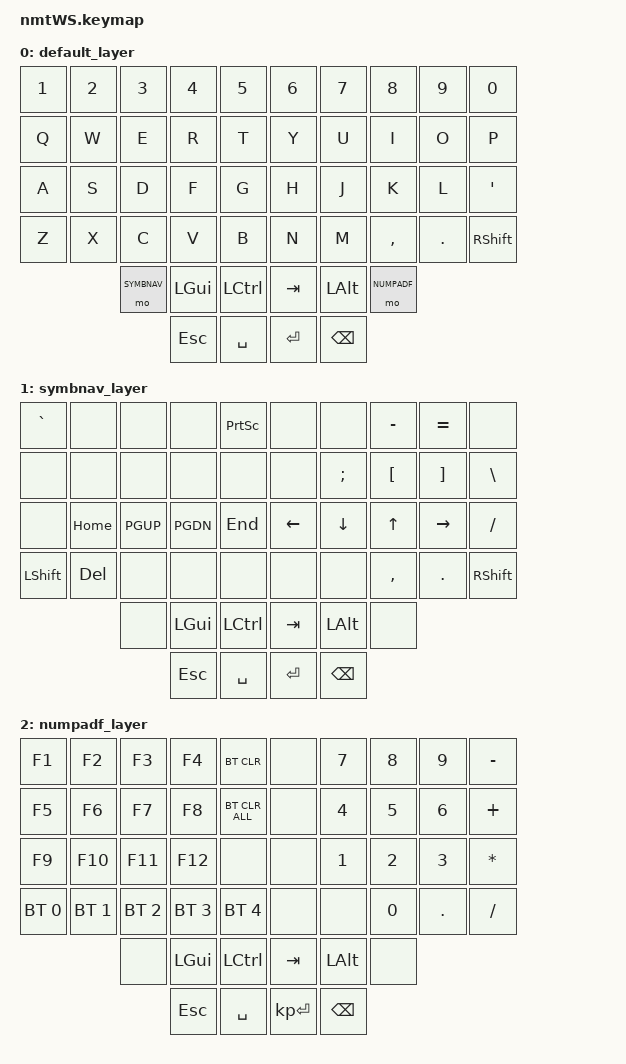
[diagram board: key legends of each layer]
#include <behaviors.dtsi>
#include <dt-bindings/zmk/keys.h>
#include <dt-bindings/zmk/bt.h>

#define DEFAULT 0
#define SYMBNAV 1
#define NUMPADF 2

/ {
    keymap {
        compatible = "zmk,keymap";

        default_layer {
            bindings = <
// .------------.------------.------------.------------.------------.------------.------------.------------.------------.------------.          
// |   ROW L1   |   ROW L2   |   ROW L3   |   ROW L4   |   ROW L5   |   ROW R1   |   ROW R2   |   ROW R3   |   ROW R4   |   ROW R5   |
// .------------.------------.------------.------------.------------.------------.------------.------------.------------.------------.          
    &kp N1       &kp N2       &kp N3       &kp N4       &kp N5       &kp N6       &kp N7       &kp N8       &kp N9       &kp N0
    &kp Q        &kp W        &kp E        &kp R        &kp T        &kp Y        &kp U        &kp I        &kp O        &kp P
    &kp A        &kp S        &kp D        &kp F        &kp G        &kp H        &kp J        &kp K        &kp L        &kp SINGLE_QUOTE 
    &kp Z        &kp X        &kp C        &kp V        &kp B        &kp N        &kp M        &kp COMMA    &kp DOT      &kp RSHIFT
                              &mo SYMBNAV  &kp LGUI     &kp LCTRL    &kp TAB      &kp LALT     &mo NUMPADF
                                           &kp ESC      &kp SPACE    &kp ENTER    &kp BSPC
            >;
        };

        symbnav_layer {
            bindings = <
// .------------.------------.------------.------------.------------.------------.------------.------------.------------.------------.          
// |   ROW L1   |   ROW L2   |   ROW L3   |   ROW L4   |   ROW L5   |   ROW R1   |   ROW R2   |   ROW R3   |   ROW R4   |   ROW R5   |
// .------------.------------.------------.------------.------------.------------.------------.------------.------------.------------.          
    &kp GRAVE    &none        &none        &none        &kp PSCRN    &none        &none        &kp MINUS    &kp EQUAL    &none
    &none        &none        &none        &none        &none        &none        &kp SEMI     &kp LBKT     &kp RBKT     &kp BSLH
    &none        &kp HOME     &kp PGUP     &kp PGDN     &kp END      &kp LEFT     &kp DOWN     &kp UP       &kp RIGHT    &kp FSLH
    &kp LSHIFT   &kp DELETE   &none        &none        &none        &none        &none        &kp COMMA    &kp DOT      &kp RSHIFT
                              &none        &kp LGUI     &kp LCTRL    &kp TAB      &kp LALT     &none
                                           &kp ESC      &kp SPACE    &kp ENTER    &kp BSPC
            >;
        };

        numpadf_layer {
            bindings = <
// .------------.------------.------------.------------.--------------.------------.------------.------------.------------.------------.          
// |   ROW L1   |   ROW L2   |   ROW L3   |   ROW L4   |    ROW L5    |   ROW R1   |   ROW R2   |   ROW R3   |   ROW R4   |   ROW R5   |
// .------------.------------.------------.------------.--------------.------------.------------.------------.------------.------------.          
    &kp F1       &kp F2       &kp F3       &kp F4       &bt BT_CLR     &none        &kp N7       &kp N8       &kp N9       &kp MINUS
    &kp F5       &kp F6       &kp F7       &kp F8       &bt BT_CLR_ALL &none        &kp N4       &kp N5       &kp N6       &kp PLUS
    &kp F9       &kp F10      &kp F11      &kp F12      &none          &none        &kp N1       &kp N2       &kp N3       &kp STAR
    &bt BT_SEL 0 &bt BT_SEL 1 &bt BT_SEL 2 &bt BT_SEL 3 &bt BT_SEL 4   &none        &none        &kp N0       &kp DOT      &kp FSLH
                              &none        &kp LGUI     &kp LCTRL      &kp TAB      &kp LALT     &none
                                           &kp ESC      &kp SPACE      &kp KP_ENTER &kp BSPC
            >;
        };
    };
};
